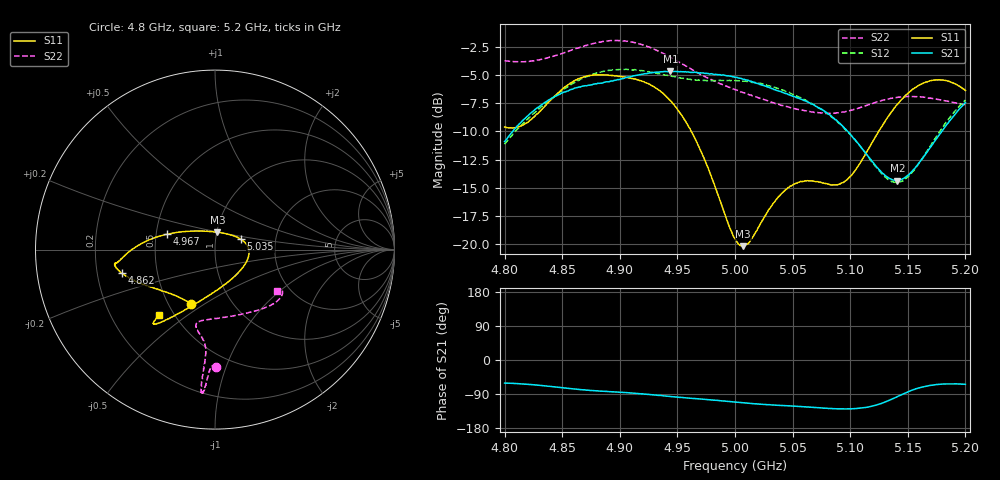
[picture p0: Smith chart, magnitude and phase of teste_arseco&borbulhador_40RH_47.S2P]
! Network Analyzer HP8722D
! Hewlett-Packard
! Data name: Linha & Wilkinson
! Saver's name: Rodrigo Anjos
! Comments: Teste da utilização de aquisição
! continua pelo VNA HP8722D
! Time and date: 15/4/2025 16:44
!  Frequency  S11  S21  S12  S22
# HZ  S  MA R 50
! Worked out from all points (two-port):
!   401 points, 4.8 GHz to 5.2 GHz, reference 50 ohm
!   highest |S21| = -4.64 dB at 4.944 GHz (marker M1); lowest = -14.4 dB at 5.141 GHz (marker M2)
!   |S21| within 3 dB of the highest: 4.832 GHz to 5.068 GHz (236.6 MHz wide, 4.78 % of centre); 5.198117 GHz to end of sweep
!   lowest |S11| = -20.2 dB at 5.007 GHz (marker M3), VSWR 1.22, Z = 50.4 + j9.82 ohm
!   |S11| at or under -10 dB: 4.962 GHz to 5.125 GHz (162.7 MHz wide, 3.23 % of centre)
!   |S22| runs from -8.4 to -1.9 dB; largest |S21 - S12| = 0.88
!   S11 on the Smith chart (normalised r, x): 4.8 GHz: 0.65, -0.44; 4.862 GHz: 0.31, -0.11; 4.967 GHz: 0.57, +0.11; 5.035 GHz: 1.33, +0.16; 5.2 GHz: 0.41, -0.39
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4.8e9  0.3308 -114.0  0.2849 -60.9  0.2774 -175.1  0.654 -89.6
4.819e9  0.3455 -133.8  0.3671 -64.0  0.355 -173.5  0.6481 -91.3
4.862e9  0.5367 -165.9  0.4949 -77.1  0.5275 -176.7  0.7412 -93.7
4.867e9  0.5491 -167.8  0.5023 -78.5  0.5427 -177.6  0.7529 -93.9
4.9e9  0.5567 -172.4  0.5388 -85.0  0.5973 175.7  0.8034 -95.3
4.934e9  0.483 -178.2  0.5811 -93.5  0.5724 171.7  0.7176 -95.7
4.944e9  0.4333 177.2  0.5864 -96.4  0.5571 172.0  0.6772 -95.4
4.967e9  0.282 162.4  0.5783 -102.2  0.5349 173.9  0.5793 -95.2
5e9  0.1055 106.2  0.5508 -111.0  0.533 176.2  0.4857 -99.3
5.007e9  0.09747 82.2  0.5401 -112.6  0.5292 176.2  0.4711 -101.0
5.014e9  0.1047 60.0  0.5295 -114.7  0.5244 176.0  0.4595 -102.7
5.035e9  0.155 22.0  0.4847 -119.2  0.4962 175.0  0.4209 -103.8
5.05e9  0.1824 6.2  0.4545 -121.7  0.4635 174.4  0.4022 -100.4
5.067e9  0.1906 -12.2  0.4191 -124.7  0.4207 173.9  0.3859 -91.8
5.087e9  0.1829 -44.5  0.3566 -128.8  0.3562 173.7  0.3813 -76.8
5.097e9  0.1922 -65.6  0.3196 -129.1  0.3187 174.5  0.3889 -68.3
5.134e9  0.3745 -116.5  0.1952 -106.2  0.1915 -159.1  0.4427 -43.4
5.141e9  0.4177 -120.4  0.191 -96.4  0.1876 -148.0  0.4488 -40.3
5.153e9  0.4824 -125.2  0.2081 -80.4  0.2055 -129.6  0.4524 -36.0
5.17e9  0.5325 -128.8  0.2699 -66.9  0.2746 -112.9  0.4451 -32.2
5.184e9  0.5313 -130.1  0.3409 -63.1  0.3517 -107.3  0.4319 -31.2
5.2e9  0.4817 -130.6  0.4248 -64.2  0.4366 -106.2  0.4159 -33.5
